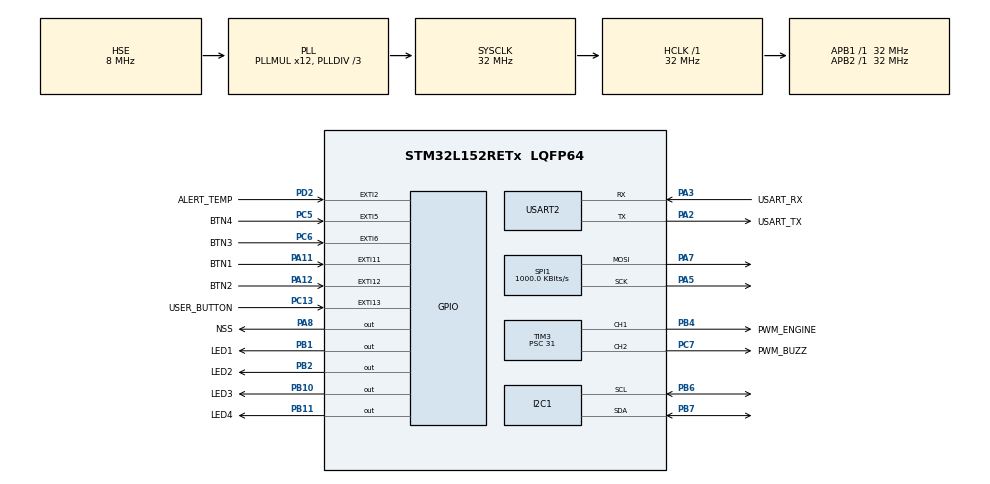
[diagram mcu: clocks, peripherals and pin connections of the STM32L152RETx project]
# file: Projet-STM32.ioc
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Mcu.Family=STM32L1
Mcu.Name=STM32L152RETx
Mcu.Package=LQFP64
NVIC.EXTI15_10_IRQn=true\:0\:4\:false\:false\:true\:true\:true
NVIC.EXTI2_IRQn=true\:0\:4\:false\:false\:true\:true\:true
NVIC.EXTI9_5_IRQn=true\:0\:4\:false\:false\:true\:true\:true
NVIC.I2C1_ER_IRQn=true\:0\:0\:false\:false\:true\:true\:true
NVIC.I2C1_EV_IRQn=true\:0\:0\:false\:false\:true\:true\:true
NVIC.PriorityGroup=NVIC_PRIORITYGROUP_0
NVIC.RCC_IRQn=true\:0\:0\:true\:false\:true\:true\:false
NVIC.SPI1_IRQn=true\:0\:0\:false\:false\:true\:true\:true
NVIC.TIM2_IRQn=true\:0\:0\:false\:false\:true\:true\:true
NVIC.USART2_IRQn=true\:0\:0\:false\:false\:true\:true\:true
PA11.GPIO_Label=BTN1
PA11.GPIO_ModeDefaultEXTI=GPIO_MODE_IT_FALLING
PA11.GPIO_PuPd=GPIO_PULLUP
PA11.Signal=GPXTI11
PA12.GPIO_Label=BTN2
PA12.GPIO_ModeDefaultEXTI=GPIO_MODE_IT_FALLING
PA12.GPIO_PuPd=GPIO_PULLUP
PA12.Signal=GPXTI12
PA13.GPIO_Label=TMS
PA13.Mode=Serial_Wire
PA13.Signal=SYS_JTMS-SWDIO
PA14.GPIO_Label=TCK
PA14.Mode=Serial_Wire
PA14.Signal=SYS_JTCK-SWCLK
PA2.GPIO_Label=USART_TX
PA2.Mode=Asynchronous
PA2.Signal=USART2_TX
PA3.GPIO_Label=USART_RX
PA3.Mode=Asynchronous
PA3.Signal=USART2_RX
PA5.Mode=TX_Only_Simplex_Unidirect_Master
PA5.Signal=SPI1_SCK
PA7.Mode=TX_Only_Simplex_Unidirect_Master
PA7.Signal=SPI1_MOSI
PA8.GPIO_Label=NSS
PA8.Signal=GPIO_Output
PB1.GPIO_Label=LED1
PB1.Signal=GPIO_Output
PB10.GPIO_Label=LED3
PB10.Signal=GPIO_Output
PB11.GPIO_Label=LED4
PB11.Signal=GPIO_Output
PB2.GPIO_Label=LED2
PB2.Signal=GPIO_Output
PB3.GPIO_Label=SWO
PB3.Signal=SYS_JTDO-TRACESWO
PB4.GPIO_Label=PWM_ENGINE
PB4.Signal=S_TIM3_CH1
PB6.Mode=I2C
PB6.Signal=I2C1_SCL
PB7.Mode=I2C
PB7.Signal=I2C1_SDA
PC13-WKUP2.GPIO_Label=USER_BUTTON
PC13-WKUP2.GPIO_ModeDefaultEXTI=GPIO_MODE_IT_FALLING
PC13-WKUP2.GPIO_PuPd=GPIO_PULLUP
PC13-WKUP2.Signal=GPXTI13
PC14-OSC32_IN.Mode=LSE-External-Oscillator
PC14-OSC32_IN.Signal=RCC_OSC32_IN
PC15-OSC32_OUT.Mode=LSE-External-Oscillator
PC15-OSC32_OUT.Signal=RCC_OSC32_OUT
PC5.GPIO_Label=BTN4
PC5.GPIO_ModeDefaultEXTI=GPIO_MODE_IT_FALLING
PC5.GPIO_PuPd=GPIO_PULLUP
PC5.Signal=GPXTI5
PC6.GPIO_Label=BTN3
PC6.GPIO_ModeDefaultEXTI=GPIO_MODE_IT_FALLING
PC6.GPIO_PuPd=GPIO_PULLUP
PC6.Signal=GPXTI6
PC7.GPIO_Label=PWM_BUZZ
PC7.Signal=S_TIM3_CH2
PD2.GPIO_Label=ALERT_TEMP
PD2.GPIO_ModeDefaultEXTI=GPIO_MODE_IT_RISING_FALLING
PD2.GPIO_PuPd=GPIO_PULLUP
PD2.Signal=GPXTI2
PH0-OSC_IN.Mode=HSE-External-Clock-Source
PH0-OSC_IN.Signal=RCC_OSC_IN
PH1-OSC_OUT.Signal=RCC_OSC_OUT
ProjectManager.HeapSize=0x200
ProjectManager.StackSize=0x400
ProjectManager.TargetToolchain=TrueSTUDIO
RCC.48MHZClocksFreq_Value=48000000
RCC.AHBFreq_Value=32000000
RCC.APB1Freq_Value=32000000
RCC.APB1TimFreq_Value=32000000
RCC.APB2Freq_Value=32000000
RCC.APB2TimFreq_Value=32000000
RCC.HCLKFreq_Value=32000000
RCC.HSE_VALUE=8000000
RCC.HSI_VALUE=16000000
RCC.MSI_VALUE=2097000
RCC.PLLDIV=RCC_PLL_DIV3
RCC.PLLMUL=RCC_PLL_MUL12
RCC.PLLSourceVirtual=RCC_PLLSOURCE_HSE
RCC.RTCClockSelectionVirtual=RCC_RTCCLKSOURCE_LSE
RCC.SYSCLKFreq_VALUE=32000000
RCC.SYSCLKSource=RCC_SYSCLKSOURCE_PLLCLK
RCC.USBOutput=48000000
RCC.VCOOutputFreq_Value=96000000
SH.S_TIM3_CH1.0=TIM3_CH1,PWM Generation1 CH1
SH.S_TIM3_CH2.0=TIM3_CH2,PWM Generation2 CH2
SPI1.BaudRatePrescaler=SPI_BAUDRATEPRESCALER_32
SPI1.CalculateBaudRate=1000.0 KBits/s
SPI1.Direction=SPI_DIRECTION_2LINES
SPI1.Mode=SPI_MODE_MASTER
SPI1.VirtualType=VM_MASTER
TIM2.Period=1000
TIM2.Prescaler=31999
TIM3.Channel-PWM\ Generation1\ CH1=TIM_CHANNEL_1
TIM3.Channel-PWM\ Generation2\ CH2=TIM_CHANNEL_2
TIM3.OCMode_PWM-PWM\ Generation2\ CH2=TIM_OCMODE_PWM1
TIM3.Period=1000
TIM3.Prescaler=31
TIM3.Pulse-PWM\ Generation1\ CH1=0
TIM3.Pulse-PWM\ Generation2\ CH2=0
USART2.VirtualMode=VM_ASYNC
VP_TIM2_VS_ClockSourceINT.Mode=Internal
VP_TIM3_VS_ClockSourceINT.Mode=Internal
board=NUCLEO-L152RE

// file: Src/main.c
/* USER CODE BEGIN Header */
/**
 ******************************************************************************
 * @file           : main.c
 * @brief          : Main program body
 ******************************************************************************
 * @attention
 *
 * <h2><center>&copy; Copyright (c) 2019 STMicroelectronics.
 * All rights reserved.</center></h2>
 *
 * This software component is licensed by ST under BSD 3-Clause license,
 * the "License"; You may not use this file except in compliance with the
 * License. You may obtain a copy of the License at:
 *                        opensource.org/licenses/BSD-3-Clause
 *
 ******************************************************************************
 */
/* USER CODE END Header */

#include "main.h"

/* USER CODE BEGIN Includes */
#include <stdio.h>
#include <string.h>
/* USER CODE END Includes */

/* USER CODE BEGIN PTD */
enum    E_MCP980x_REGISTERS
{
	MCP980x_I2C_REG_TEMP        = (0x00),
	MCP980x_I2C_REG_CONF        = (0x01),
	MCP980x_I2C_REG_TEMPHIST    = (0x02),
	MCP980x_I2C_REG_TEMPLIMIT    = (0x03),

	MCP980x_I2C_RegistersCount

};

/* USER CODE END PTD */

/* USER CODE BEGIN PD */
#define MCP980x_I2C_ADDR_R    	(0x9F)
#define MCP980x_I2C_ADDR_W    	(0x9E)

#define DESACTIVE 				1
#define ACTIF 					0
#define MINSPEED 				300
#define MAXSPEED 				1000
#define TIMEOUT					2000
#define ALERTE_TEMPERATURE 		1
#define FIN_ALERTE_TEMPERATURE	0

/* USER CODE END PD */

I2C_HandleTypeDef hi2c1;

SPI_HandleTypeDef hspi1;

TIM_HandleTypeDef htim2;
TIM_HandleTypeDef htim3;

UART_HandleTypeDef huart2;

/* USER CODE BEGIN PV */
volatile uint32_t pulseEngine 				= MINSPEED;
volatile uint8_t maxSpeed 					= 0;
volatile uint8_t desactivate 				= 0;
volatile uint8_t consigneTemp 				= 30;
volatile uint8_t consigneHist 				= 29;
volatile uint8_t flagAlerteTemperature 		= FIN_ALERTE_TEMPERATURE;
volatile uint8_t pwmEngine 					= DESACTIVE;
volatile uint8_t bufferReceiveTemp[1]		={0};
volatile uint8_t bufferReceiveRegConf[1]	={0};
volatile uint8_t bufferReceiveTEMPHIST[1]	={0};
volatile uint8_t bufferReceiveTEMPLIMIT[2]	={0};
/* USER CODE END PV */

void SystemClock_Config(void);
static void MX_GPIO_Init(void);
static void MX_I2C1_Init(void);
static void MX_SPI1_Init(void);
static void MX_TIM3_Init(void);
static void MX_USART2_UART_Init(void);
static void MX_TIM2_Init(void);
/* USER CODE BEGIN PFP */
static void BCD_Write(volatile uint8_t _u8Addr, volatile uint8_t _8Data);
static void BCD_Init(void);
static void BCD_Example(void);

void set_ConsigneTemperature(uint16_t temperature);
void set_PWM_TIM_ENGINE(uint32_t Pulse, uint8_t desactivate);
void UpdatePulse(uint16_t value);
void set_PWM_TIM_BUZZ(uint32_t Pulse);

/* USER CODE END PFP */

int main(void)
{
	/* USER CODE BEGIN 1 */
	//TODO mettre config bit a bit
	uint8_t bufferConf = 0x68;
	/* USER CODE END 1 */

	/* MCU Configuration--------------------------------------------------------*/

	/* Reset of all peripherals, Initializes the Flash interface and the Systick. */
	HAL_Init();

	/* Configure the system clock */
	SystemClock_Config();

	/* Initialize all configured peripherals */
	MX_GPIO_Init();
	MX_I2C1_Init();
	MX_SPI1_Init();
	MX_TIM3_Init();
	MX_USART2_UART_Init();
	MX_TIM2_Init();
	/* USER CODE BEGIN 2 */

	BCD_Init();

	HAL_Delay(1000);
	BCD_Example();
	HAL_NVIC_SetPriority(EXTI2_IRQn,     5, 0);
	HAL_NVIC_SetPriority(EXTI15_10_IRQn, 5, 0);
	HAL_NVIC_SetPriority(EXTI9_5_IRQn,   5, 0);
	HAL_NVIC_SetPriority(TIM2_IRQn,      6, 0);

	set_ConsigneTemperature(consigneTemp);

	if(HAL_I2C_Mem_Write(&hi2c1, MCP980x_I2C_ADDR_W, MCP980x_I2C_REG_CONF, 1, &bufferConf, 1, TIMEOUT) != HAL_OK){
		Error_Handler();
	}
	if(HAL_I2C_Mem_Read(&hi2c1, MCP980x_I2C_ADDR_R, MCP980x_I2C_REG_CONF, 1, (uint8_t*)bufferReceiveRegConf,1, TIMEOUT)!= HAL_OK){
		Error_Handler();
	}
	if(HAL_I2C_Mem_Write(&hi2c1, MCP980x_I2C_ADDR_W, MCP980x_I2C_REG_TEMPLIMIT, 1, (uint8_t*)(&consigneTemp), 2, TIMEOUT)!= HAL_OK){
		Error_Handler();
	}
	if(HAL_I2C_Mem_Write(&hi2c1, MCP980x_I2C_ADDR_W, MCP980x_I2C_REG_TEMPHIST, 1, (uint8_t*)(&consigneHist), 2, TIMEOUT)!=HAL_OK){
		Error_Handler();
	}
	if(HAL_I2C_Mem_Read(&hi2c1, MCP980x_I2C_ADDR_R, MCP980x_I2C_REG_TEMPLIMIT, 1, (uint8_t*)bufferReceiveTEMPLIMIT, 2, TIMEOUT)!= HAL_OK){
		Error_Handler();
	}
	//Affiche sur le 7 segments (- - - -) la fin de la configuration générale
	BCD_Write(0x01, 0x0A);
	BCD_Write(0x02, 0x0A);
	BCD_Write(0x03, 0x0A);
	BCD_Write(0x04, 0x0A);
	HAL_Delay(1000);
	printf("End of configuration \n");

	/* USER CODE END 2 */

	/* Infinite loop */
	/* USER CODE BEGIN WHILE */
	while (1)
	{

		HAL_TIM_PWM_Start(&htim3,TIM_CHANNEL_1); //Moteur

		HAL_TIM_PWM_Start(&htim3,TIM_CHANNEL_2); //BUZZ
		/* USER CODE END WHILE */

	}
}

void SystemClock_Config(void)
{
	RCC_OscInitTypeDef RCC_OscInitStruct = {0};
	RCC_ClkInitTypeDef RCC_ClkInitStruct = {0};

	/** Configure the main internal regulator output voltage
	 */
	__HAL_PWR_VOLTAGESCALING_CONFIG(PWR_REGULATOR_VOLTAGE_SCALE1);
	/** Initializes the CPU, AHB and APB busses clocks
	 */
	RCC_OscInitStruct.OscillatorType = RCC_OSCILLATORTYPE_HSE;
	RCC_OscInitStruct.HSEState = RCC_HSE_BYPASS;
	RCC_OscInitStruct.PLL.PLLState = RCC_PLL_ON;
	RCC_OscInitStruct.PLL.PLLSource = RCC_PLLSOURCE_HSE;
	RCC_OscInitStruct.PLL.PLLMUL = RCC_PLL_MUL12;
	RCC_OscInitStruct.PLL.PLLDIV = RCC_PLL_DIV3;
	if (HAL_RCC_OscConfig(&RCC_OscInitStruct) != HAL_OK)
	{
		Error_Handler();
	}
	/** Initializes the CPU, AHB and APB busses clocks
	 */
	RCC_ClkInitStruct.ClockType = RCC_CLOCKTYPE_HCLK|RCC_CLOCKTYPE_SYSCLK
			|RCC_CLOCKTYPE_PCLK1|RCC_CLOCKTYPE_PCLK2;
	RCC_ClkInitStruct.SYSCLKSource = RCC_SYSCLKSOURCE_PLLCLK;
	RCC_ClkInitStruct.AHBCLKDivider = RCC_SYSCLK_DIV1;
	RCC_ClkInitStruct.APB1CLKDivider = RCC_HCLK_DIV1;
	RCC_ClkInitStruct.APB2CLKDivider = RCC_HCLK_DIV1;

	if (HAL_RCC_ClockConfig(&RCC_ClkInitStruct, FLASH_LATENCY_1) != HAL_OK)
	{
		Error_Handler();
	}
}

static void MX_I2C1_Init(void)
{

	hi2c1.Instance = I2C1;
	hi2c1.Init.ClockSpeed = 100000;
	hi2c1.Init.DutyCycle = I2C_DUTYCYCLE_2;
	hi2c1.Init.OwnAddress1 = 0;
	hi2c1.Init.AddressingMode = I2C_ADDRESSINGMODE_7BIT;
	hi2c1.Init.DualAddressMode = I2C_DUALADDRESS_DISABLE;
	hi2c1.Init.OwnAddress2 = 0;
	hi2c1.Init.GeneralCallMode = I2C_GENERALCALL_DISABLE;
	hi2c1.Init.NoStretchMode = I2C_NOSTRETCH_DISABLE;
	if (HAL_I2C_Init(&hi2c1) != HAL_OK)
	{
		Error_Handler();
	}

}

static void MX_SPI1_Init(void)
{

	/* SPI1 parameter configuration*/
	hspi1.Instance = SPI1;
	hspi1.Init.Mode = SPI_MODE_MASTER;
	hspi1.Init.Direction = SPI_DIRECTION_2LINES;
	hspi1.Init.DataSize = SPI_DATASIZE_8BIT;
	hspi1.Init.CLKPolarity = SPI_POLARITY_LOW;
	hspi1.Init.CLKPhase = SPI_PHASE_1EDGE;
	hspi1.Init.NSS = SPI_NSS_SOFT;
	hspi1.Init.BaudRatePrescaler = SPI_BAUDRATEPRESCALER_32;
	hspi1.Init.FirstBit = SPI_FIRSTBIT_MSB;
	hspi1.Init.TIMode = SPI_TIMODE_DISABLE;
	hspi1.Init.CRCCalculation = SPI_CRCCALCULATION_DISABLE;
	hspi1.Init.CRCPolynomial = 10;
	if (HAL_SPI_Init(&hspi1) != HAL_OK)
	{
		Error_Handler();
	}

}

static void MX_TIM2_Init(void)
{

	TIM_ClockConfigTypeDef sClockSourceConfig = {0};
	TIM_MasterConfigTypeDef sMasterConfig = {0};

	htim2.Instance = TIM2;
	htim2.Init.Prescaler = 31999;
	htim2.Init.CounterMode = TIM_COUNTERMODE_UP;
	htim2.Init.Period = 1000;
	htim2.Init.ClockDivision = TIM_CLOCKDIVISION_DIV1;
	htim2.Init.AutoReloadPreload = TIM_AUTORELOAD_PRELOAD_DISABLE;
	if (HAL_TIM_Base_Init(&htim2) != HAL_OK)
	{
		Error_Handler();
	}
	sClockSourceConfig.ClockSource = TIM_CLOCKSOURCE_INTERNAL;
	if (HAL_TIM_ConfigClockSource(&htim2, &sClockSourceConfig) != HAL_OK)
	{
		Error_Handler();
	}
	sMasterConfig.MasterOutputTrigger = TIM_TRGO_RESET;
	sMasterConfig.MasterSlaveMode = TIM_MASTERSLAVEMODE_DISABLE;
	if (HAL_TIMEx_MasterConfigSynchronization(&htim2, &sMasterConfig) != HAL_OK)
	{
		Error_Handler();
	}
	/* USER CODE BEGIN TIM2_Init 2 */
	HAL_TIM_Base_Start_IT(&htim2);
	/* USER CODE END TIM2_Init 2 */

}

static void MX_TIM3_Init(void)
{

	TIM_ClockConfigTypeDef sClockSourceConfig = {0};
	TIM_MasterConfigTypeDef sMasterConfig = {0};
	TIM_OC_InitTypeDef sConfigOC = {0};

	htim3.Instance = TIM3;
	htim3.Init.Prescaler = 31;
	htim3.Init.CounterMode = TIM_COUNTERMODE_UP;
	htim3.Init.Period = 1000;
	htim3.Init.ClockDivision = TIM_CLOCKDIVISION_DIV1;
	htim3.Init.AutoReloadPreload = TIM_AUTORELOAD_PRELOAD_DISABLE;
	if (HAL_TIM_Base_Init(&htim3) != HAL_OK)
	{
		Error_Handler();
	}
	sClockSourceConfig.ClockSource = TIM_CLOCKSOURCE_INTERNAL;
	if (HAL_TIM_ConfigClockSource(&htim3, &sClockSourceConfig) != HAL_OK)
	{
		Error_Handler();
	}
	if (HAL_TIM_PWM_Init(&htim3) != HAL_OK)
	{
		Error_Handler();
	}
	sMasterConfig.MasterOutputTrigger = TIM_TRGO_RESET;
	sMasterConfig.MasterSlaveMode = TIM_MASTERSLAVEMODE_DISABLE;
	if (HAL_TIMEx_MasterConfigSynchronization(&htim3, &sMasterConfig) != HAL_OK)
	{
		Error_Handler();
	}
	sConfigOC.OCMode = TIM_OCMODE_PWM1;
	sConfigOC.Pulse = 0;
	sConfigOC.OCPolarity = TIM_OCPOLARITY_HIGH;
	sConfigOC.OCFastMode = TIM_OCFAST_DISABLE;
	if (HAL_TIM_PWM_ConfigChannel(&htim3, &sConfigOC, TIM_CHANNEL_1) != HAL_OK)
	{
		Error_Handler();
	}
	if (HAL_TIM_PWM_ConfigChannel(&htim3, &sConfigOC, TIM_CHANNEL_2) != HAL_OK)
	{
		Error_Handler();
	}
	/* USER CODE BEGIN TIM3_Init 2 */
	HAL_TIM_Base_Start_IT(&htim3);
	HAL_TIM_PWM_Init(&htim3);

	/* USER CODE END TIM3_Init 2 */
	HAL_TIM_MspPostInit(&htim3);

}

static void MX_USART2_UART_Init(void)
{

	huart2.Instance = USART2;
	huart2.Init.BaudRate = 115200;
	huart2.Init.WordLength = UART_WORDLENGTH_8B;
	huart2.Init.StopBits = UART_STOPBITS_1;
	huart2.Init.Parity = UART_PARITY_NONE;
	huart2.Init.Mode = UART_MODE_TX_RX;
	huart2.Init.HwFlowCtl = UART_HWCONTROL_NONE;
	huart2.Init.OverSampling = UART_OVERSAMPLING_16;
	if (HAL_UART_Init(&huart2) != HAL_OK)
	{
		Error_Handler();
	}

}

static void MX_GPIO_Init(void)
{
	GPIO_InitTypeDef GPIO_InitStruct = {0};

	/* GPIO Ports Clock Enable */
	__HAL_RCC_GPIOC_CLK_ENABLE();
	__HAL_RCC_GPIOH_CLK_ENABLE();
	__HAL_RCC_GPIOA_CLK_ENABLE();
	__HAL_RCC_GPIOB_CLK_ENABLE();
	__HAL_RCC_GPIOD_CLK_ENABLE();

	/*Configure GPIO pin Output Level */
	HAL_GPIO_WritePin(GPIOB, LED1_Pin|LED2_Pin|LED3_Pin|LED4_Pin, GPIO_PIN_RESET);

	/*Configure GPIO pin Output Level */
	HAL_GPIO_WritePin(NSS_GPIO_Port, NSS_Pin, GPIO_PIN_RESET);

	/*Configure GPIO pins : USER_BUTTON_Pin BTN4_Pin BTN3_Pin */
	GPIO_InitStruct.Pin = USER_BUTTON_Pin|BTN4_Pin|BTN3_Pin;
	GPIO_InitStruct.Mode = GPIO_MODE_IT_FALLING;
	GPIO_InitStruct.Pull = GPIO_PULLUP;
	HAL_GPIO_Init(GPIOC, &GPIO_InitStruct);

	/*Configure GPIO pins : LED1_Pin LED2_Pin LED3_Pin LED4_Pin */
	GPIO_InitStruct.Pin = LED1_Pin|LED2_Pin|LED3_Pin|LED4_Pin;
	GPIO_InitStruct.Mode = GPIO_MODE_OUTPUT_PP;
	GPIO_InitStruct.Pull = GPIO_NOPULL;
	GPIO_InitStruct.Speed = GPIO_SPEED_FREQ_LOW;
	HAL_GPIO_Init(GPIOB, &GPIO_InitStruct);

	/*Configure GPIO pin : NSS_Pin */
	GPIO_InitStruct.Pin = NSS_Pin;
	GPIO_InitStruct.Mode = GPIO_MODE_OUTPUT_PP;
	GPIO_InitStruct.Pull = GPIO_NOPULL;
	GPIO_InitStruct.Speed = GPIO_SPEED_FREQ_LOW;
	HAL_GPIO_Init(NSS_GPIO_Port, &GPIO_InitStruct);

	/*Configure GPIO pins : BTN1_Pin BTN2_Pin */
	GPIO_InitStruct.Pin = BTN1_Pin|BTN2_Pin;
	GPIO_InitStruct.Mode = GPIO_MODE_IT_FALLING;
	GPIO_InitStruct.Pull = GPIO_PULLUP;
	HAL_GPIO_Init(GPIOA, &GPIO_InitStruct);

	/*Configure GPIO pin : ALERT_TEMP_Pin */
	GPIO_InitStruct.Pin = ALERT_TEMP_Pin;
	GPIO_InitStruct.Mode = GPIO_MODE_IT_RISING_FALLING;
	GPIO_InitStruct.Pull = GPIO_PULLUP;
	HAL_GPIO_Init(ALERT_TEMP_GPIO_Port, &GPIO_InitStruct);

	/* EXTI interrupt init*/
	HAL_NVIC_SetPriority(EXTI2_IRQn, 0, 4);
	HAL_NVIC_EnableIRQ(EXTI2_IRQn);

	HAL_NVIC_SetPriority(EXTI9_5_IRQn, 0, 4);
	HAL_NVIC_EnableIRQ(EXTI9_5_IRQn);

	HAL_NVIC_SetPriority(EXTI15_10_IRQn, 0, 4);
	HAL_NVIC_EnableIRQ(EXTI15_10_IRQn);

}

/* USER CODE BEGIN 4 */
/**
 * @brief  Permet de rediriger le flux d'affichage du printf, puts etc. vers une sortie UART
 * @brief  cette fonction est appelé automatiquement lors de l'appelle d'un printf
 * @param  int file
 * @param  char *ptr
 * @param  int len
 *
 * @retval void
 */
int _write(int file, char *ptr, int len)
{
	HAL_UART_Transmit(&huart2, (uint8_t *)ptr, len, 10);
	return len;
}
/**
 * @brief  Ecrit sur le bus SPI à l'adress correspondante et avec les datas
 * @param  volatile uint8_t _u8Data
 * @param  volatile uint8_t _u8Addr
 *
 * @retval void
 */
static void BCD_Write(volatile uint8_t _u8Addr, volatile uint8_t _u8Data){
	uint8_t l_pu8Word[2];

	l_pu8Word[0] = _u8Addr; //Invert the order if 8 bits mod
	l_pu8Word[1] = _u8Data;
	//Reset la pin NSS pour signaler qu'on va écrire sur le bus
	HAL_GPIO_WritePin(NSS_GPIO_Port, NSS_Pin, GPIO_PIN_RESET);
	if(HAL_SPI_Transmit(&hspi1, l_pu8Word, 2, HAL_TIMEOUT)!= HAL_OK){
		Error_Handler();
	}
	HAL_GPIO_WritePin(NSS_GPIO_Port, NSS_Pin, GPIO_PIN_SET);

}
/**
 * @brief  Permet d'initialiser les paramètres de l'afficheur
 * @param  void
 * @retval void
 */
static void BCD_Init(void){
	BCD_Write(0x0C, 0x01); // Exit the shutdown mode
	BCD_Write(0x0B, 0x03);// 4 digits (from 0 to 3) scan limit
	BCD_Write(0x0A, 0x0B);// Set brightness (11/16)
	BCD_Write(0x09, 0x0F);// Set code B
}
/**
 * @brief  Affiche 6 sur les 4 digits sur l'afficheur SPI
 * @param  void
 * @retval void
 */
static void BCD_Example(void){
	BCD_Write(0x01, 0x06);
	BCD_Write(0x02, 0x06);
	BCD_Write(0x03, 0x06);
	BCD_Write(0x04, 0x06);
}
/**
 * @brief  Gère l'interruption du TIM2 (toutes les secondes)
 * @brief  Récupère les données du capteur I2C et les affiche sur l'afficheur 7 seg 4 digits
 * @brief  Si il y a une alerte température la ventilation se gère automatiquement et bloque l'utilisateur
 * @brief	pour changer la vitesse de celle-ci.
 * @brief	Cependant on peut activer le bouton MAXSPEED si besoin
 * @brief	Lorsque l'alerte température n'est plus active l'utilisateur peut de nouveau changer la vitesse du moteur
 *
 * @param  TIM_HandleTypeDef *htim
 * @retval void
 */
void HAL_TIM_PeriodElapsedCallback(TIM_HandleTypeDef *htim){

	if(HAL_I2C_Mem_Read(&hi2c1, MCP980x_I2C_ADDR_R, MCP980x_I2C_REG_TEMP, 1, (uint8_t*)bufferReceiveTemp, 1, 2000)!= HAL_OK){
		Error_Handler();
	}
	if(HAL_I2C_Mem_Read(&hi2c1, MCP980x_I2C_ADDR_R, MCP980x_I2C_REG_TEMPLIMIT, 1, (uint8_t*)bufferReceiveTEMPLIMIT, 1, 2000)!= HAL_OK){
		Error_Handler();
	}
	if(HAL_I2C_Mem_Read(&hi2c1, MCP980x_I2C_ADDR_R, MCP980x_I2C_REG_TEMPHIST, 1, (uint8_t*)bufferReceiveTEMPHIST, 1, 2000)!= HAL_OK){
		Error_Handler();
	}
	BCD_Write(0x01, (bufferReceiveTemp[0] > 0 ? 0x0F : 0x0A));
	BCD_Write(0x02, (bufferReceiveTemp[0]/100)%10);
	BCD_Write(0x03, ((bufferReceiveTemp[0]/10)%10));
	BCD_Write(0x04, (bufferReceiveTemp[0]%10));
	if(ACTIF == pwmEngine){
		printf("Temperature : %d, ALERTE set Temp : %u, HIST %u, engine speed %lu, MAXSPEED : %u\n",bufferReceiveTemp[0],bufferReceiveTEMPLIMIT[0],bufferReceiveTEMPHIST[0], pulseEngine, maxSpeed);
	}else{
		printf("Temperature : %d, ALERTE set Temp : %u, HIST %u, engine speed OFF, MAXSPEED : %u\n",bufferReceiveTemp[0],bufferReceiveTEMPLIMIT[0],bufferReceiveTEMPHIST[0], maxSpeed);
	}
	if(ALERTE_TEMPERATURE == flagAlerteTemperature){
		if(maxSpeed != 1){
			UpdatePulse(bufferReceiveTemp[0]-bufferReceiveTEMPLIMIT[0]);
		}
	}else{
		if(maxSpeed == 1){
			set_PWM_TIM_ENGINE(MAXSPEED, ACTIF);
		}else{
			if(pulseEngine <= MINSPEED){
				set_PWM_TIM_ENGINE(0, DESACTIVE);
				pwmEngine = DESACTIVE;
			}else{
				set_PWM_TIM_ENGINE(pulseEngine, ACTIF);
				pwmEngine = ACTIF;
			}
		}
	}

}
/**
 * @brief  Gère toutes les interruptions externes et test toutes les GPIOs
 * @brief	Lorsqu'on rentre en interruption on affiche sur l'afficheur PPPP
 * @brief  Si la température dépasse le seuil de la consigne la gestion de la ventilation se fait automtiquement
 * @brief	Dans l'interruption du TIM2 seul le bouton USER(bleu sur la carte NUCLEO) active la ventilation forcée
 * @brief	L'interruption du BTN1 augmente la consigne en température (avec Hysteresis egalement)
 * @brief	L'interruption du BTN3 baisse la consigne en température (avec Hysteresis egalement)
 * @brief	L'interruption du BTN2 augmente la vitesse du moteur
 * @brief	L'interruption du BTN4 baisse la vitesse du moteur
 *
 * @param  uint16_t GPIO_Pin
 * @retval void
 */
void HAL_GPIO_EXTI_Callback(uint16_t GPIO_Pin){ //Routine d'interrupt
	static uint32_t lastTick = 0;
	static uint32_t currentTick = 0;

	currentTick = HAL_GetTick();
	if(currentTick > (lastTick + 300)){
		puts("INTERRUPT\n");
		BCD_Write(0x01, 0x0E);
		BCD_Write(0x02, 0x0E);
		BCD_Write(0x03, 0x0E);
		BCD_Write(0x04, 0x0E);

		printf("GPIO_Pin : %d \n",GPIO_Pin);
		if(GPIO_Pin == BTN1_Pin){
			puts("BTN1\n");
			consigneTemp += 1;
			consigneHist += 1;
			if(HAL_I2C_Mem_Write(&hi2c1, MCP980x_I2C_ADDR_W, MCP980x_I2C_REG_TEMPLIMIT, 1, (uint8_t*)(&consigneTemp), 2, 2000) != HAL_OK){
				Error_Handler();
			}
			if(HAL_I2C_Mem_Write(&hi2c1, MCP980x_I2C_ADDR_W, MCP980x_I2C_REG_TEMPHIST, 1, (uint8_t*)(&consigneHist), 2, 2000)!= HAL_OK){
				Error_Handler();
			}
			set_ConsigneTemperature(consigneTemp);

		}
		if(GPIO_Pin == BTN2_Pin){
			puts("BTN2\n");
			if(pulseEngine < MAXSPEED){
				maxSpeed = 0;
				if(flagAlerteTemperature == FIN_ALERTE_TEMPERATURE){
					pulseEngine+=50;
				}
				pwmEngine = ACTIF;
			}else{
				maxSpeed = 1;
			}
			if(FIN_ALERTE_TEMPERATURE == flagAlerteTemperature){
				set_PWM_TIM_ENGINE(pulseEngine, ACTIF);
			}

		}
		if(GPIO_Pin == BTN3_Pin){
			puts("BTN3\n");
			consigneTemp -=1;
			consigneHist -=1;
			if(HAL_I2C_Mem_Write(&hi2c1, MCP980x_I2C_ADDR_W, MCP980x_I2C_REG_TEMPLIMIT, 1, (uint8_t*)(&consigneTemp), 2, 2000) != HAL_OK){
				Error_Handler();
			}
			if(HAL_I2C_Mem_Write(&hi2c1, MCP980x_I2C_ADDR_W, MCP980x_I2C_REG_TEMPHIST, 1, (uint8_t*)(&consigneHist), 2, 2000)!= HAL_OK){
				Error_Handler();
			}
			set_ConsigneTemperature(consigneTemp);
		}
		if(GPIO_Pin == BTN4_Pin){
			puts("BTN4\n");
			if(pulseEngine >= MINSPEED){
				if(FIN_ALERTE_TEMPERATURE == flagAlerteTemperature){
					pwmEngine = ACTIF;
					pulseEngine-=50;
					set_PWM_TIM_ENGINE(pulseEngine, ACTIF);
				}
			}else{

				if(FIN_ALERTE_TEMPERATURE == flagAlerteTemperature){
					set_PWM_TIM_ENGINE(0, DESACTIVE);
					pwmEngine = DESACTIVE;
				}

			}
		}
		if(GPIO_Pin == USER_BUTTON_Pin){
			if(0 == maxSpeed ){
				set_PWM_TIM_ENGINE(MAXSPEED, ACTIF);
				pwmEngine = ACTIF;
				maxSpeed = 1 ;
			}else{
				set_PWM_TIM_ENGINE(pulseEngine, ACTIF);
				maxSpeed = 0 ;
			}
		}
		if(GPIO_Pin == ALERT_TEMP_Pin){
			if(flagAlerteTemperature == FIN_ALERTE_TEMPERATURE){
				puts("ALERTE TEMPERATURE ! \n");
				flagAlerteTemperature = ALERTE_TEMPERATURE;
				set_PWM_TIM_BUZZ(600);
			}else{
				flagAlerteTemperature = FIN_ALERTE_TEMPERATURE;
				puts("FIN ALERTE TEMP\n");
				set_PWM_TIM_BUZZ(0);
			}
		}
		lastTick = HAL_GetTick();
	}
}
/**
 * @brief	Gère la pulse du PWM du MOTEUR tant que la valeur ne descends pas en dessous de MINSPEED
 * @brief	et ne dépasse pas MAXSPEED
 * @brief	Si on souhaite arrêter le moteur on viendra set la variable desactivate à DESACTIVE et une pulse
 * @brief	set à 0
 * @brief	Sinon on set desactivate à ACTIF
 * @param	uint32_t Pulse
 * @param	uint8_t desactivate
 * @retval	void
 */
void set_PWM_TIM_ENGINE(uint32_t Pulse, uint8_t desactivate){
	TIM_OC_InitTypeDef sConfigOC = {0};
	uint32_t l_u32Pulse = 0;

	if(Pulse < MINSPEED && (desactivate != DESACTIVE)){
		printf("Pulse minimum for the engine is %d\n", MINSPEED);
		l_u32Pulse = MINSPEED;

	}else if(Pulse > MAXSPEED && (desactivate != DESACTIVE)){
		puts("MAX speed reached ! \n");
	}else{
		l_u32Pulse = Pulse;
	}
	sConfigOC.OCMode = TIM_OCMODE_PWM1;
	sConfigOC.Pulse = l_u32Pulse;
	sConfigOC.OCPolarity = TIM_OCPOLARITY_HIGH;
	sConfigOC.OCFastMode = TIM_OCFAST_DISABLE;
	if (HAL_TIM_PWM_ConfigChannel(&htim3, &sConfigOC, TIM_CHANNEL_1) != HAL_OK)
	{
		Error_Handler();
	}

}

/**
 * @brief	Gère la pulse du PWM du MOTEUR en fonction de value
 * @brief	Cette fonction set up la vitesse du moteur en fonction de l'écart
 * @brief	de température. Cette fonction est implémentée dans l'interruption de TIM2
 * @param	uint16_t value
 * @retval	void
 */
void UpdatePulse(uint16_t value)
{
	// Fonction pour gérer automatiquement la vitesse du moteur
	TIM_OC_InitTypeDef sConfigOC = {0};
	sConfigOC.OCMode = TIM_OCMODE_PWM1;
	if(( MINSPEED + value * 200)>1000){
		sConfigOC.Pulse = 1000;
	}else if (( MINSPEED + value * 200) < 0){
		sConfigOC.Pulse = (uint32_t)( MINSPEED );
	}else if (value < 0){
		sConfigOC.Pulse = (uint32_t)( MINSPEED );
	}else{
		sConfigOC.Pulse = (uint32_t)( MINSPEED + value * 200);
	}
	sConfigOC.OCPolarity = TIM_OCPOLARITY_HIGH;
	sConfigOC.OCFastMode = TIM_OCFAST_DISABLE;

	if (HAL_TIM_PWM_ConfigChannel(&htim3, &sConfigOC, TIM_CHANNEL_1) != HAL_OK)
	{
		Error_Handler();
	}

	HAL_TIM_PWM_Start(&htim3,TIM_CHANNEL_1);
}
/**
 * @brief	Gère la pulse du PWM du Buzzer en fonction de pulse
 * @param	uint32_t Pulse
 * @retval	void
 */
void set_PWM_TIM_BUZZ(uint32_t Pulse){
	TIM_OC_InitTypeDef sConfigOC = {0};

	sConfigOC.OCMode = TIM_OCMODE_PWM1;
	sConfigOC.Pulse = Pulse;
	sConfigOC.OCPolarity = TIM_OCPOLARITY_HIGH;
	sConfigOC.OCFastMode = TIM_OCFAST_DISABLE;
	if (HAL_TIM_PWM_ConfigChannel(&htim3, &sConfigOC, TIM_CHANNEL_2) != HAL_OK)
	{
		Error_Handler();
	}
}

/**
 * @brief	Affiche la température sur l'afficheur en fonction de temperature
 * @brief	Cette fonction est implémentée lorsqu'on configure la consigne en température seulement
 * @brief	Affiche un P. sur le premier digit pour signifier qu'on "Programme" le thermostat
 * @param	uint16_t temperature
 * @retval	void
 */
// D7 | D6 | D5 | D4 | D3 | D2 | D1 | D0
// DP | A  | B  | C  | D  | E  | F  | G
// 1    1    0    0    1    1    1    0
void set_ConsigneTemperature(uint16_t temperature){
	BCD_Write(0x01, 0xFE); //P.
	BCD_Write(0x02, ((temperature/100)%10));
	BCD_Write(0x03, ((temperature/10)%10));
	BCD_Write(0x04, (temperature%10));

}

/* USER CODE END 4 */

void Error_Handler(void)
{
	/* USER CODE BEGIN Error_Handler_Debug */
	//TODO Fix before release
	while(1);
	/* User can add his own implementation to report the HAL error return state */

	/* USER CODE END Error_Handler_Debug */
}

/************************ (C) COPYRIGHT STMicroelectronics *****END OF FILE****/
